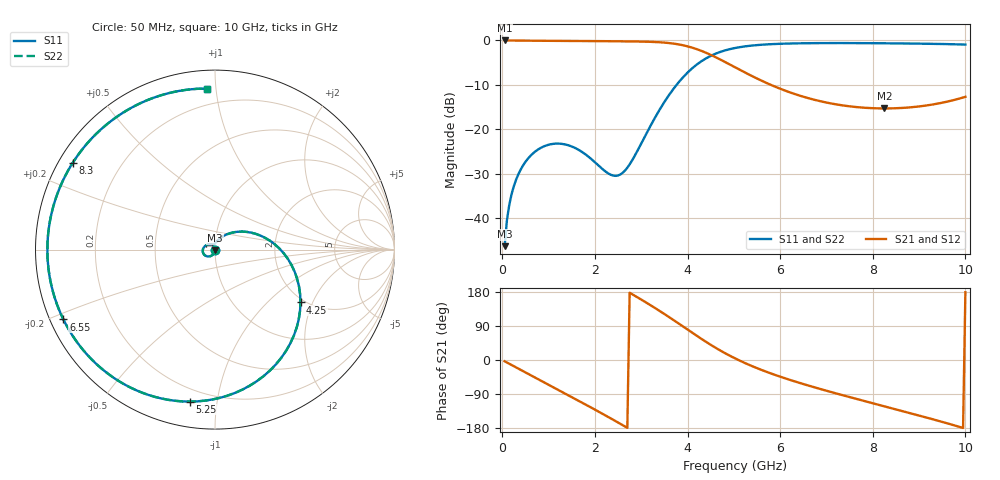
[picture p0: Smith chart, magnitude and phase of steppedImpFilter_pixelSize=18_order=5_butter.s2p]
! freq	dB(S11)	phase(S11)	dB(S12)	phase(S12)
!  dB(S21)	phase(S21)	dB(S22)	phase(S22)
!S-par simulation data
#  GHz  S  DB  R 50
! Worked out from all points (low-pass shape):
!   200 points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, 50 MHz to 10 GHz, reference 50 ohm
!   highest |S21| = -0.01 dB at 50 MHz (marker M1); lowest = -15.3 dB at 8.25 GHz (marker M2)
!   |S21| within 3 dB of the highest: start of sweep to 4.45 GHz
!   lowest |S11| = -46.3 dB at 50 MHz (marker M3), VSWR 1.01, Z = 50 - j0.484 ohm
!   |S11| at or under -10 dB: start of sweep to 3.763 GHz
!   |S22| runs from -46.3 to -0.6 dB; largest |S21 - S12| = 0
!   S11 on the Smith chart (normalised r, x): 50 MHz: 1.00, -0.01; 4.25 GHz: 1.90, -1.63; 5.25 GHz: 0.13, -0.84; 6.55 GHz: 0.04, -0.22; 8.3 GHz: 0.04, +0.28; 10 GHz: 0.10, +0.94
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0.05  -46.29 -91.1  -0.01 -3.3  -0.01 -3.3  -46.29 -91.1
0.1  -40.46 -95.1  -0.01 -6.6  -0.01 -6.6  -40.46 -95.1
0.2  -34.63 -102.8  -0.02 -13.1  -0.02 -13.1  -34.63 -102.8
0.55  -26.65 -127.0  -0.05 -35.8  -0.05 -35.8  -26.65 -127.0
1.15  -23.23 -166.4  -0.10 -74.8  -0.10 -74.8  -23.23 -166.4
1.75  -25.29 153.3  -0.14 -114.2  -0.14 -114.2  -25.29 153.2
2.55  -30.16 96.3  -0.19 -168.4  -0.19 -168.4  -30.15 96.0
3  -23.21 65.8  -0.26 159.5  -0.26 159.5  -23.21 65.6
3.4  -15.54 36.8  -0.41 129.3  -0.41 129.3  -15.54 36.7
3.8  -9.53 5.1  -0.88 97.0  -0.88 97.0  -9.53 5.1
4.25  -5.04 -31.7  -2.15 59.7  -2.15 59.7  -5.04 -31.7
4.6  -3.01 -58.5  -3.74 32.7  -3.74 32.7  -3.01 -58.6
5.05  -1.66 -88.1  -6.17 2.9  -6.17 2.9  -1.65 -88.2
5.25  -1.32 -99.5  -7.26 -8.6  -7.26 -8.6  -1.32 -99.5
5.9  -0.80 -130.3  -10.44 -39.8  -10.44 -39.8  -0.79 -130.3
6.55  -0.63 -155.3  -12.82 -65.3  -12.82 -65.3  -0.63 -155.3
6.7  -0.61 -160.5  -13.25 -70.7  -13.25 -70.7  -0.61 -160.5
7.45  -0.60 175.0  -14.76 -96.2  -14.76 -96.2  -0.60 175.0
8.25  -0.64 150.3  -15.30 -122.2  -15.30 -122.2  -0.64 150.3
8.3  -0.64 148.7  -15.30 -123.8  -15.30 -123.8  -0.64 148.7
8.35  -0.65 147.2  -15.30 -125.4  -15.30 -125.4  -0.65 147.2
10  -0.93 92.9  -12.69 178.8  -12.69 178.8  -0.93 92.9
